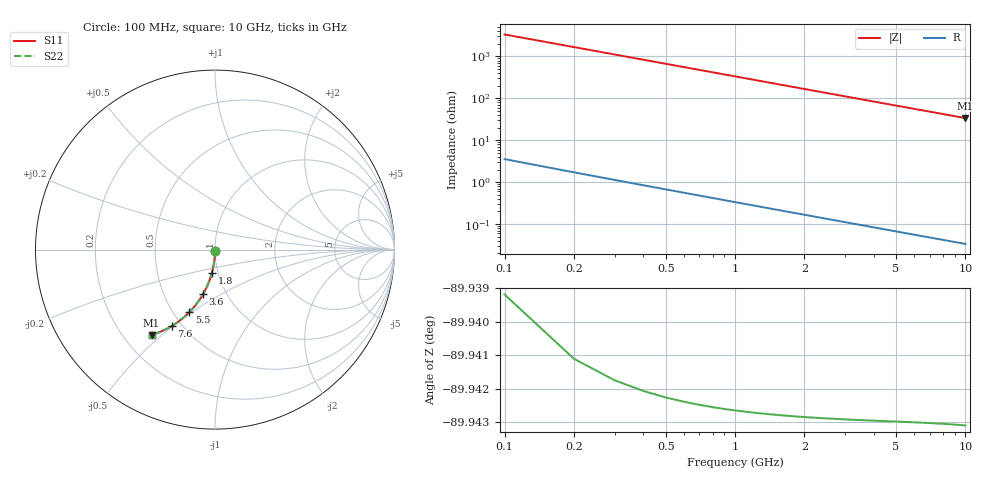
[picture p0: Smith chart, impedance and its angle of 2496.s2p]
# Hz S RI R 50.00
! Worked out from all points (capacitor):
!   100 points, 100 MHz to 10 GHz, reference 50 ohm
!   read as one part in shunt: C = 476 fF near 100 MHz
!   lowest |Z| = 33.9 ohm at 10 GHz (marker M1)
!   S11 on the Smith chart (normalised r, x): 100 MHz: 1.00, -0.01; 1.8 GHz: 0.93, -0.25; 3.6 GHz: 0.78, -0.42; 5.5 GHz: 0.60, -0.49; 7.6 GHz: 0.44, -0.49; 10 GHz: 0.32, -0.46
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1e8  -5.82e-05 -0.00745  0.9999 -0.00749  0.9999 -0.00749  -5.82e-05 -0.00745
2e8  -0.000233 -0.0149  0.9998 -0.015  0.9998 -0.015  -0.000233 -0.0149
3e8  -0.00052 -0.0224  0.9995 -0.0225  0.9995 -0.0225  -0.00052 -0.0224
4e8  -0.000917 -0.0298  0.9991 -0.0299  0.9991 -0.0299  -0.000917 -0.0298
5e8  -0.00143 -0.0372  0.9986 -0.0374  0.9986 -0.0374  -0.00143 -0.0372
6e8  -0.00205 -0.0446  0.9979 -0.0449  0.9979 -0.0449  -0.00205 -0.0446
8e8  -0.00361 -0.0594  0.9964 -0.0597  0.9964 -0.0597  -0.00361 -0.0594
1.1e9  -0.00678 -0.0814  0.9932 -0.0818  0.9932 -0.0818  -0.00678 -0.0814
1.4e9  -0.0109 -0.1031  0.9891 -0.1037  0.9891 -0.1037  -0.0109 -0.1031
1.8e9  -0.0179 -0.1316  0.9821 -0.1323  0.9821 -0.1323  -0.0179 -0.1316
2.1e9  -0.0241 -0.1525  0.9759 -0.1533  0.9759 -0.1533  -0.0241 -0.1525
2.5e9  -0.0338 -0.1796  0.9662 -0.1806  0.9662 -0.1806  -0.0338 -0.1796
2.9e9  -0.0448 -0.2059  0.9552 -0.207  0.9552 -0.207  -0.0448 -0.2059
3.4e9  -0.0605 -0.2372  0.9395 -0.2385  0.9395 -0.2385  -0.0605 -0.2372
3.6e9  -0.0673 -0.2493  0.9327 -0.2507  0.9327 -0.2507  -0.0673 -0.2493
4.3e9  -0.0931 -0.2892  0.9069 -0.2909  0.9069 -0.2909  -0.0931 -0.2892
5.1e9  -0.1259 -0.3302  0.8741 -0.3322  0.8741 -0.3322  -0.1259 -0.3302
5.5e9  -0.1433 -0.3488  0.8567 -0.351  0.8567 -0.351  -0.1433 -0.3488
6.7e9  -0.1983 -0.3969  0.8017 -0.3995  0.8017 -0.3995  -0.1983 -0.3969
7.6e9  -0.241 -0.4257  0.759 -0.4287  0.759 -0.4287  -0.241 -0.4257
8.4e9  -0.2791 -0.4464  0.7209 -0.4497  0.7209 -0.4497  -0.2791 -0.4464
1e10  -0.3535 -0.4756  0.6465 -0.4795  0.6465 -0.4795  -0.3535 -0.4756
